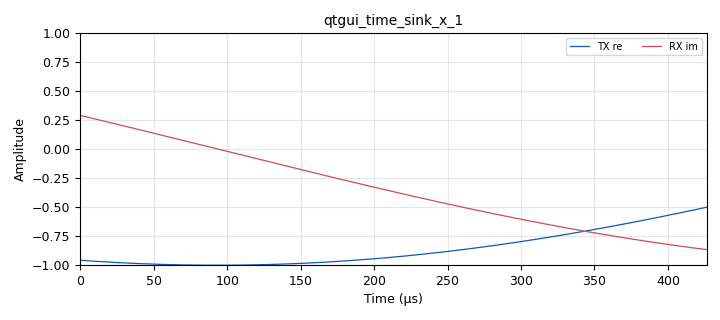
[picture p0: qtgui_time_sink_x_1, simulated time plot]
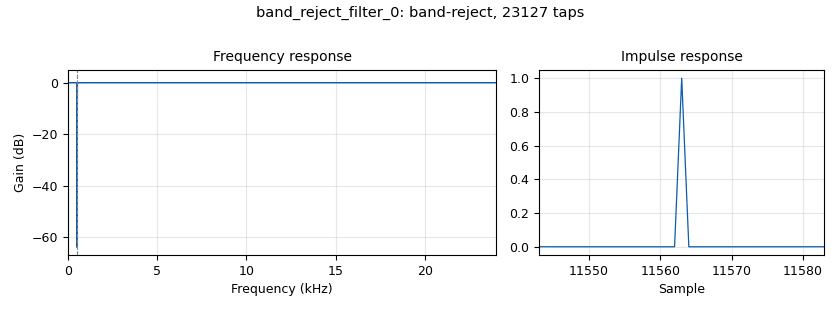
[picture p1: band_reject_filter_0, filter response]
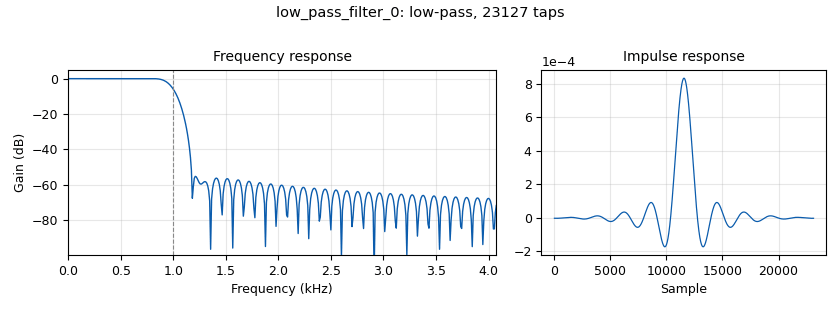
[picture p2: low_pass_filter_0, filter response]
<?xml version='1.0' encoding='utf-8'?>
<?grc format='1' created='3.7.13'?>
<flow_graph>
<block>
<key>options</key>
<param><key>id</key><value>top_block</value></param>
<param><key>generate_options</key><value>qt_gui</value></param>
</block>
<block>
<key>variable_qtgui_range</key>
<param><key>id</key><value>audio_gain</value></param>
<param><key>value</key><value>1</value></param>
<param><key>orient</key><value>Qt.Horizontal</value></param>
<param><key>start</key><value>0</value></param>
<param><key>step</key><value>1</value></param>
<param><key>stop</key><value>100</value></param>
</block>
<block>
<key>variable</key>
<param><key>id</key><value>samp_rate</value></param>
<param><key>value</key><value>2.4e6</value></param>
</block>
<block>
<key>variable_qtgui_range</key>
<param><key>id</key><value>tone_freq</value></param>
<param><key>value</key><value>500</value></param>
<param><key>orient</key><value>Qt.Horizontal</value></param>
<param><key>start</key><value>-2e3</value></param>
<param><key>step</key><value>1</value></param>
<param><key>stop</key><value>2e3</value></param>
</block>
<block>
<key>variable_qtgui_range</key>
<param><key>id</key><value>tx_attenuation</value></param>
<param><key>value</key><value>10</value></param>
<param><key>orient</key><value>Qt.Horizontal</value></param>
<param><key>start</key><value>0</value></param>
<param><key>step</key><value>1</value></param>
<param><key>stop</key><value>100</value></param>
</block>
<block>
<key>analog_sig_source_x</key>
<param><key>id</key><value>analog_sig_source_x_0</value></param>
<param><key>amp</key><value>1</value></param>
<param><key>freq</key><value>500</value></param>
<param><key>offset</key><value>0</value></param>
<param><key>type</key><value>complex</value></param>
<param><key>samp_rate</key><value>samp_rate</value></param>
<param><key>waveform</key><value>analog.GR_COS_WAVE</value></param>
</block>
<block>
<key>audio_sink</key>
<param><key>id</key><value>audio_sink_0</value></param>
<param><key>samp_rate</key><value>48000</value></param>
</block>
<block>
<key>band_reject_filter</key>
<param><key>id</key><value>band_reject_filter_0</value></param>
<param><key>decim</key><value>1</value></param>
<param><key>type</key><value>fir_filter_ccf</value></param>
<param><key>gain</key><value>1</value></param>
<param><key>high_cutoff_freq</key><value>505</value></param>
<param><key>low_cutoff_freq</key><value>495</value></param>
<param><key>samp_rate</key><value>samp_rate/50</value></param>
<param><key>width</key><value>5</value></param>
<param><key>win</key><value>firdes.WIN_HAMMING</value></param>
</block>
<block>
<key>blocks_complex_to_real</key>
<param><key>id</key><value>blocks_complex_to_real_0</value></param>
</block>
<block>
<key>blocks_multiply_const_vxx</key>
<param><key>id</key><value>blocks_multiply_const_vxx_0</value></param>
<param><key>const</key><value>audio_gain</value></param>
<param><key>type</key><value>complex</value></param>
</block>
<block>
<key>low_pass_filter</key>
<param><key>id</key><value>low_pass_filter_0</value></param>
<param><key>cutoff_freq</key><value>tone_freq*2</value></param>
<param><key>decim</key><value>50</value></param>
<param><key>type</key><value>fir_filter_ccf</value></param>
<param><key>gain</key><value>1</value></param>
<param><key>samp_rate</key><value>samp_rate</value></param>
<param><key>width</key><value>250</value></param>
<param><key>win</key><value>firdes.WIN_HAMMING</value></param>
</block>
<block>
<key>pluto_sink</key>
<param><key>id</key><value>pluto_sink_0</value></param>
<param><key>attenuation</key><value>tx_attenuation</value></param>
<param><key>buffer_size</key><value>32768</value></param>
<param><key>cyclic</key><value>False</value></param>
<param><key>auto_filter</key><value>True</value></param>
<param><key>filter</key><value></value></param>
<param><key>uri</key><value>192.168.2.1</value></param>
<param><key>frequency</key><value>3500000000</value></param>
<param><key>bandwidth</key><value>20000000</value></param>
<param><key>samplerate</key><value>int(samp_rate)</value></param>
</block>
<block>
<key>pluto_source</key>
<param><key>id</key><value>pluto_source_0</value></param>
<param><key>bbdc</key><value>True</value></param>
<param><key>buffer_size</key><value>0x8000</value></param>
<param><key>uri</key><value></value></param>
<param><key>auto_filter</key><value>True</value></param>
<param><key>filter</key><value></value></param>
<param><key>gain</key><value>"manual"</value></param>
<param><key>frequency</key><value>3500000000</value></param>
<param><key>manual_gain</key><value>64.0</value></param>
<param><key>quadrature</key><value>True</value></param>
<param><key>rfdc</key><value>True</value></param>
<param><key>bandwidth</key><value>20000000</value></param>
<param><key>samplerate</key><value>int(samp_rate)</value></param>
</block>
<block>
<key>qtgui_freq_sink_x</key>
<param><key>id</key><value>qtgui_freq_sink_x_0</value></param>
<param><key>bw</key><value>samp_rate</value></param>
<param><key>alias</key><value>RX</value></param>
<param><key>fc</key><value>0</value></param>
<param><key>fftsize</key><value>1024*8</value></param>
<param><key>showports</key><value>True</value></param>
<param><key>type</key><value>complex</value></param>
<param><key>wintype</key><value>firdes.WIN_BLACKMAN_hARRIS</value></param>
</block>
<block>
<key>qtgui_freq_sink_x</key>
<param><key>id</key><value>qtgui_freq_sink_x_1</value></param>
<param><key>bw</key><value>samp_rate/50</value></param>
<param><key>fc</key><value>0</value></param>
<param><key>fftsize</key><value>1024*8</value></param>
<param><key>label1</key><value>LPF</value></param>
<param><key>showports</key><value>True</value></param>
<param><key>type</key><value>complex</value></param>
<param><key>wintype</key><value>firdes.WIN_BLACKMAN_hARRIS</value></param>
</block>
<block>
<key>qtgui_freq_sink_x</key>
<param><key>id</key><value>qtgui_freq_sink_x_2</value></param>
<param><key>bw</key><value>samp_rate/50</value></param>
<param><key>fc</key><value>0</value></param>
<param><key>fftsize</key><value>1024*8</value></param>
<param><key>label1</key><value>band reject</value></param>
<param><key>showports</key><value>True</value></param>
<param><key>type</key><value>complex</value></param>
<param><key>wintype</key><value>firdes.WIN_BLACKMAN_hARRIS</value></param>
</block>
<block>
<key>qtgui_time_sink_x</key>
<param><key>id</key><value>qtgui_time_sink_x_0</value></param>
<param><key>color1</key><value>"blue"</value></param>
<param><key>label1</key><value>RX re</value></param>
<param><key>color2</key><value>"red"</value></param>
<param><key>label2</key><value>RX im</value></param>
<param><key>size</key><value>1024</value></param>
<param><key>srate</key><value>samp_rate</value></param>
<param><key>type</key><value>complex</value></param>
</block>
<block>
<key>qtgui_time_sink_x</key>
<param><key>id</key><value>qtgui_time_sink_x_1</value></param>
<param><key>color1</key><value>"blue"</value></param>
<param><key>label1</key><value>TX re</value></param>
<param><key>color2</key><value>"red"</value></param>
<param><key>label2</key><value>RX im</value></param>
<param><key>size</key><value>1024</value></param>
<param><key>srate</key><value>samp_rate</value></param>
<param><key>type</key><value>complex</value></param>
</block>
<block>
<key>qtgui_time_sink_x</key>
<param><key>id</key><value>qtgui_time_sink_x_2</value></param>
<param><key>color1</key><value>"blue"</value></param>
<param><key>label1</key><value>LPF re</value></param>
<param><key>color2</key><value>"red"</value></param>
<param><key>label2</key><value>LPF im</value></param>
<param><key>size</key><value>1024</value></param>
<param><key>srate</key><value>samp_rate/50</value></param>
<param><key>type</key><value>complex</value></param>
</block>
<block>
<key>qtgui_time_sink_x</key>
<param><key>id</key><value>qtgui_time_sink_x_3</value></param>
<param><key>color1</key><value>"blue"</value></param>
<param><key>label1</key><value>band reject re</value></param>
<param><key>color2</key><value>"red"</value></param>
<param><key>label2</key><value>band reject im</value></param>
<param><key>size</key><value>1024</value></param>
<param><key>srate</key><value>samp_rate/50</value></param>
<param><key>type</key><value>complex</value></param>
</block>
<connection><source_block_id>analog_sig_source_x_0</source_block_id><sink_block_id>pluto_sink_0</sink_block_id><source_key>0</source_key><sink_key>0</sink_key></connection>
<connection><source_block_id>analog_sig_source_x_0</source_block_id><sink_block_id>qtgui_time_sink_x_1</sink_block_id><source_key>0</source_key><sink_key>0</sink_key></connection>
<connection><source_block_id>band_reject_filter_0</source_block_id><sink_block_id>blocks_multiply_const_vxx_0</sink_block_id><source_key>0</source_key><sink_key>0</sink_key></connection>
<connection><source_block_id>blocks_complex_to_real_0</source_block_id><sink_block_id>audio_sink_0</sink_block_id><source_key>0</source_key><sink_key>0</sink_key></connection>
<connection><source_block_id>blocks_multiply_const_vxx_0</source_block_id><sink_block_id>blocks_complex_to_real_0</sink_block_id><source_key>0</source_key><sink_key>0</sink_key></connection>
<connection><source_block_id>blocks_multiply_const_vxx_0</source_block_id><sink_block_id>qtgui_freq_sink_x_2</sink_block_id><source_key>0</source_key><sink_key>0</sink_key></connection>
<connection><source_block_id>blocks_multiply_const_vxx_0</source_block_id><sink_block_id>qtgui_time_sink_x_3</sink_block_id><source_key>0</source_key><sink_key>0</sink_key></connection>
<connection><source_block_id>low_pass_filter_0</source_block_id><sink_block_id>band_reject_filter_0</sink_block_id><source_key>0</source_key><sink_key>0</sink_key></connection>
<connection><source_block_id>low_pass_filter_0</source_block_id><sink_block_id>qtgui_freq_sink_x_1</sink_block_id><source_key>0</source_key><sink_key>0</sink_key></connection>
<connection><source_block_id>low_pass_filter_0</source_block_id><sink_block_id>qtgui_time_sink_x_2</sink_block_id><source_key>0</source_key><sink_key>0</sink_key></connection>
<connection><source_block_id>pluto_source_0</source_block_id><sink_block_id>low_pass_filter_0</sink_block_id><source_key>0</source_key><sink_key>0</sink_key></connection>
<connection><source_block_id>pluto_source_0</source_block_id><sink_block_id>qtgui_freq_sink_x_0</sink_block_id><source_key>0</source_key><sink_key>0</sink_key></connection>
<connection><source_block_id>pluto_source_0</source_block_id><sink_block_id>qtgui_time_sink_x_0</sink_block_id><source_key>0</source_key><sink_key>0</sink_key></connection>
</flow_graph>
